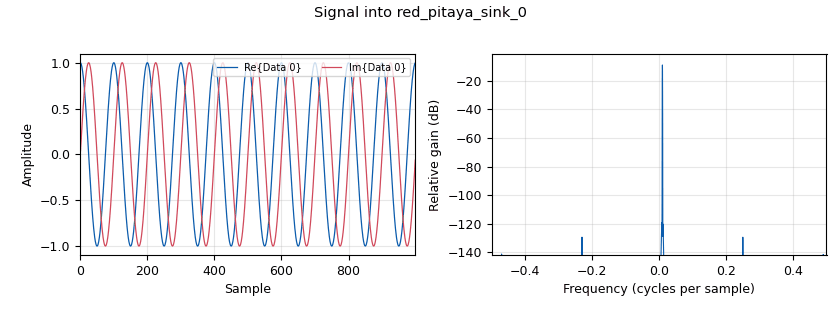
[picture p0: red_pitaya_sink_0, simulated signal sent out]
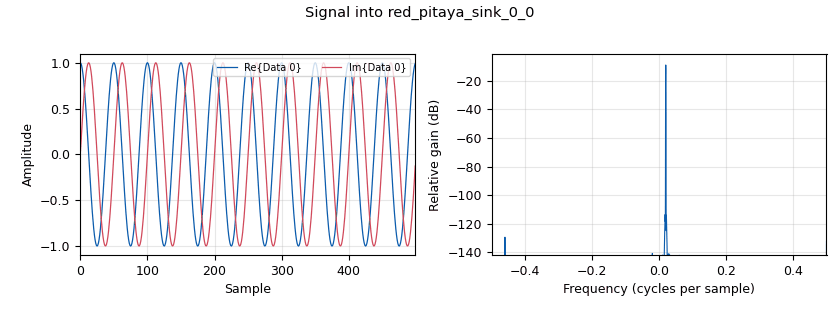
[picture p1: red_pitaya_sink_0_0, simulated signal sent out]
options:
  parameters:
    category: Custom
    generate_options: qt_gui
    id: trx_dual_template
    output_language: python
  states: {}

blocks:
- name: addr
  id: variable
  parameters:
    value: '"192.168.1.100"'
  states: {}
- name: ptt1
  id: variable_qtgui_check_box
  parameters:
    'false': 'False'
    gui_hint: 0,0,1,1
    'true': 'True'
    type: int
    value: 'False'
  states: {}
- name: ptt2
  id: variable_qtgui_check_box
  parameters:
    'false': 'False'
    gui_hint: 0,1,1,1
    'true': 'True'
    type: int
    value: 'False'
  states: {}
- name: rx1_samp_rate
  id: variable
  parameters:
    value: '100000'
  states: {}
- name: rx2_samp_rate
  id: variable
  parameters:
    value: '100000'
  states: {}
- name: samp_rate
  id: variable
  parameters:
    value: '48000'
  states: {}
- name: tx1_samp_rate
  id: variable
  parameters:
    value: '100000'
  states: {}
- name: tx2_samp_rate
  id: variable
  parameters:
    value: '100000'
  states: {}
- name: analog_sig_source_x_0
  id: analog_sig_source_x
  parameters:
    amp: '1'
    freq: '1000'
    offset: '0'
    phase: '0'
    samp_rate: tx1_samp_rate
    type: complex
    waveform: analog.GR_COS_WAVE
  states: {}
- name: analog_sig_source_x_0_0
  id: analog_sig_source_x
  parameters:
    amp: '1'
    freq: '2000'
    offset: '0'
    phase: '0'
    samp_rate: tx2_samp_rate
    type: complex
    waveform: analog.GR_COS_WAVE
  states: {}
- name: qtgui_freq_sink_x_0
  id: qtgui_freq_sink_x
  parameters:
    bw: rx1_samp_rate
    fc: '0'
    fftsize: '1024'
    gui_hint: 1,0,1,1
    name: QT GUI Plot
    type: complex
    wintype: window.WIN_HAMMING
  states: {}
- name: qtgui_freq_sink_x_0_0
  id: qtgui_freq_sink_x
  parameters:
    bw: rx2_samp_rate
    fc: '0'
    fftsize: '1024'
    gui_hint: 1,1,1,1
    name: QT GUI Plot
    type: complex
    wintype: window.WIN_HAMMING
  states: {}
- name: red_pitaya_sink_0
  id: red_pitaya_sink
  parameters:
    addr: str(addr)
    corr: '0'
    freq: '600000'
    port: '1001'
    ptt: ptt1
    rate: tx1_samp_rate
  states: {}
- name: red_pitaya_sink_0_0
  id: red_pitaya_sink
  parameters:
    addr: str(addr)
    corr: '0'
    freq: '600000'
    port: '1002'
    ptt: ptt2
    rate: tx2_samp_rate
  states: {}
- name: red_pitaya_source_0
  id: red_pitaya_source
  parameters:
    addr: str(addr)
    corr: '0'
    freq: '600000'
    port: '1001'
    rate: rx1_samp_rate
  states: {}
- name: red_pitaya_source_0_0
  id: red_pitaya_source
  parameters:
    addr: str(addr)
    corr: '0'
    freq: '600000'
    port: '1002'
    rate: rx2_samp_rate
  states: {}

connections:
- [analog_sig_source_x_0, '0', red_pitaya_sink_0, '0']
- [analog_sig_source_x_0_0, '0', red_pitaya_sink_0_0, '0']
- [red_pitaya_source_0, '0', qtgui_freq_sink_x_0, '0']
- [red_pitaya_source_0_0, '0', qtgui_freq_sink_x_0_0, '0']

metadata:
  file_format: 1
  grc_version: 3.10.5.1
